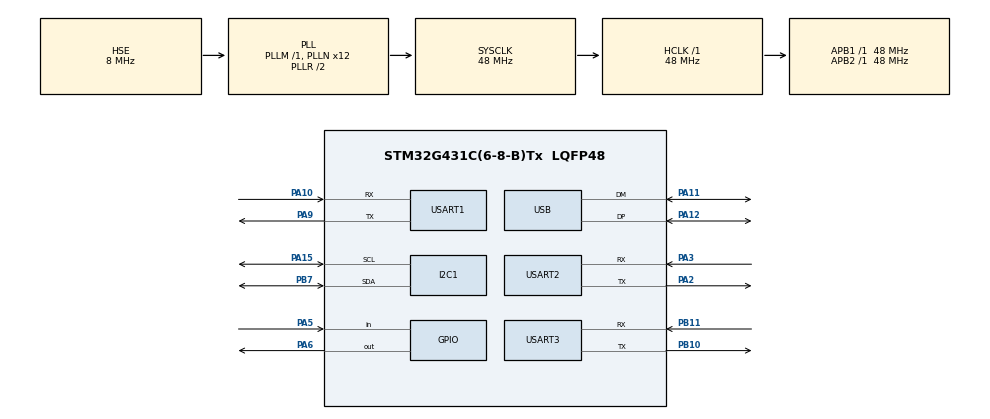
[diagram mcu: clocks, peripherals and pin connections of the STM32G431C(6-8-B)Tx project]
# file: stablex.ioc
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I2C1.Timing=0x20303E5D
Mcu.Family=STM32G4
Mcu.Name=STM32G431C(6-8-B)Tx
Mcu.Package=LQFP48
NVIC.PriorityGroup=NVIC_PRIORITYGROUP_4
NVIC.USB_LP_IRQn=true\:0\:0\:false\:false\:true\:false\:true\:true
PA10.Mode=Asynchronous
PA10.Signal=USART1_RX
PA11.Mode=Device
PA11.Signal=USB_DM
PA12.Mode=Device
PA12.Signal=USB_DP
PA13.Mode=Serial_Wire
PA13.Signal=SYS_JTMS-SWDIO
PA14.Mode=Serial_Wire
PA14.Signal=SYS_JTCK-SWCLK
PA15.Mode=I2C
PA15.Signal=I2C1_SCL
PA2.Mode=Asynchronous
PA2.Signal=USART2_TX
PA3.Mode=Asynchronous
PA3.Signal=USART2_RX
PA5.Signal=GPIO_Input
PA6.Signal=GPIO_Output
PA9.Mode=Asynchronous
PA9.Signal=USART1_TX
PB10.Mode=Asynchronous
PB10.Signal=USART3_TX
PB11.Mode=Asynchronous
PB11.Signal=USART3_RX
PB7.Mode=I2C
PB7.Signal=I2C1_SDA
PF0-OSC_IN.Mode=HSE-External-Oscillator
PF0-OSC_IN.Signal=RCC_OSC_IN
PF1-OSC_OUT.Mode=HSE-External-Oscillator
PF1-OSC_OUT.Signal=RCC_OSC_OUT
ProjectManager.HeapSize=0x200
ProjectManager.StackSize=0x400
ProjectManager.TargetToolchain=STM32CubeIDE
RCC.ADC12Freq_Value=48000000
RCC.AHBFreq_Value=48000000
RCC.APB1Freq_Value=48000000
RCC.APB1TimFreq_Value=48000000
RCC.APB2Freq_Value=48000000
RCC.APB2TimFreq_Value=48000000
RCC.CortexFreq_Value=48000000
RCC.EXTERNAL_CLOCK_VALUE=12288000
RCC.HCLKFreq_Value=48000000
RCC.HSE_VALUE=8000000
RCC.HSI48_VALUE=48000000
RCC.HSI_VALUE=16000000
RCC.LSE_VALUE=32768
RCC.PLLN=12
RCC.PLLSourceVirtual=RCC_PLLSOURCE_HSE
RCC.SYSCLKFreq_VALUE=48000000
RCC.SYSCLKSource=RCC_SYSCLKSOURCE_PLLCLK
RCC.USBFreq_Value=48000000
RCC.VCOOutputFreq_Value=96000000
USART1.VirtualMode-Asynchronous=VM_ASYNC
USART2.VirtualMode-Asynchronous=VM_ASYNC
USART3.VirtualMode-Asynchronous=VM_ASYNC
USB_DEVICE.CLASS_NAME_FS=CDC
USB_DEVICE.VirtualMode=Cdc
USB_DEVICE.VirtualModeFS=Cdc_FS
VP_SYS_VS_DBSignals.Mode=DisableDeadBatterySignals
VP_USB_DEVICE_VS_USB_DEVICE_CDC_FS.Mode=CDC_FS
board=custom

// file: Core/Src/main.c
/* USER CODE BEGIN Header */
/**
  ******************************************************************************
  * @file           : main.c
  * @brief          : Main program body
  ******************************************************************************
  * @attention
  *
  * Copyright (c) 2023 STMicroelectronics.
  * All rights reserved.
  *
  * This software is licensed under terms that can be found in the LICENSE file
  * in the root directory of this software component.
  * If no LICENSE file comes with this software, it is provided AS-IS.
  *
  ******************************************************************************
  */
/* USER CODE END Header */
#include "main.h"
#include "i2c.h"
#include "usart.h"
#include "usb_device.h"
#include "gpio.h"

/* USER CODE BEGIN Includes */
#include "string.h"
#include "usbd_cdc_if.h"
/* USER CODE END Includes */

/* USER CODE BEGIN PTD */
uint8_t raw_data[128];
__packed typedef struct
{

    int16_t roll;
    int16_t pitch;
    int16_t yaw;
    uint8_t leve;
    int16_t temp;

} gy;
/* USER CODE END PTD */

void SystemClock_Config(void);

int main(void)
{

  /* MCU Configuration--------------------------------------------------------*/

  /* Reset of all peripherals, Initializes the Flash interface and the Systick. */
  HAL_Init();

  /* Configure the system clock */
  SystemClock_Config();

  /* Initialize all configured peripherals */
  MX_GPIO_Init();
  MX_I2C1_Init();
  MX_USART1_UART_Init();
  MX_USART2_UART_Init();
  MX_USART3_UART_Init();
  MX_USB_Device_Init();
  /* USER CODE BEGIN 2 */
    HAL_GPIO_WritePin(GPIOA,GPIO_PIN_6,GPIO_PIN_RESET);
  /* USER CODE END 2 */

  /* Infinite loop */
  /* USER CODE BEGIN WHILE */
  int p[128];
  memset(p,0,sizeof(p));
    HAL_Delay(300);
  p[0]=1;
  HAL_I2C_Mem_Write(&hi2c1,0xA4,0x02,I2C_MEMADD_SIZE_8BIT,(uint8_t *)p,1,1000);
  gy my_95Q;
  uint8_t buffer[512];
    memset(buffer,0,sizeof(buffer));
    sprintf(buffer,"system init\n");
    CDC_Transmit_FS(buffer,strlen(buffer));
  while (1)
  {
    /* USER CODE END WHILE */
    if(HAL_GPIO_ReadPin(GPIOA,GPIO_PIN_5)==GPIO_PIN_RESET){
        while(HAL_GPIO_ReadPin(GPIOA,GPIO_PIN_5)==GPIO_PIN_RESET);
        if(HAL_I2C_Mem_Read(&hi2c1,0xA4,0x14,I2C_MEMADD_SIZE_8BIT,(uint8_t *)raw_data,9,HAL_MAX_DELAY)==HAL_OK){
            memcpy(&my_95Q,raw_data,9);
            memset(raw_data,0,sizeof (raw_data));
            memset(buffer,0,sizeof(buffer));
            sprintf(buffer,"roll:%.2f\npitch:%.2f \nyaw:%.2f \ntemp:%.2f \nleve:%d\r\n",(float)my_95Q.roll/100.0f,(float)my_95Q.pitch/100.0f,(float)my_95Q.yaw/100,(float)my_95Q.temp/100.0f,my_95Q.leve);
            CDC_Transmit_FS(buffer,strlen(buffer));
            memset(&my_95Q,0,sizeof(my_95Q));
        }
    }
  }
}

void SystemClock_Config(void)
{
  RCC_OscInitTypeDef RCC_OscInitStruct = {0};
  RCC_ClkInitTypeDef RCC_ClkInitStruct = {0};

  /** Configure the main internal regulator output voltage
  */
  HAL_PWREx_ControlVoltageScaling(PWR_REGULATOR_VOLTAGE_SCALE1);

  /** Initializes the RCC Oscillators according to the specified parameters
  * in the RCC_OscInitTypeDef structure.
  */
  RCC_OscInitStruct.OscillatorType = RCC_OSCILLATORTYPE_HSE;
  RCC_OscInitStruct.HSEState = RCC_HSE_ON;
  RCC_OscInitStruct.PLL.PLLState = RCC_PLL_ON;
  RCC_OscInitStruct.PLL.PLLSource = RCC_PLLSOURCE_HSE;
  RCC_OscInitStruct.PLL.PLLM = RCC_PLLM_DIV1;
  RCC_OscInitStruct.PLL.PLLN = 12;
  RCC_OscInitStruct.PLL.PLLP = RCC_PLLP_DIV2;
  RCC_OscInitStruct.PLL.PLLQ = RCC_PLLQ_DIV2;
  RCC_OscInitStruct.PLL.PLLR = RCC_PLLR_DIV2;
  if (HAL_RCC_OscConfig(&RCC_OscInitStruct) != HAL_OK)
  {
    Error_Handler();
  }

  /** Initializes the CPU, AHB and APB buses clocks
  */
  RCC_ClkInitStruct.ClockType = RCC_CLOCKTYPE_HCLK|RCC_CLOCKTYPE_SYSCLK
                              |RCC_CLOCKTYPE_PCLK1|RCC_CLOCKTYPE_PCLK2;
  RCC_ClkInitStruct.SYSCLKSource = RCC_SYSCLKSOURCE_PLLCLK;
  RCC_ClkInitStruct.AHBCLKDivider = RCC_SYSCLK_DIV1;
  RCC_ClkInitStruct.APB1CLKDivider = RCC_HCLK_DIV1;
  RCC_ClkInitStruct.APB2CLKDivider = RCC_HCLK_DIV1;

  if (HAL_RCC_ClockConfig(&RCC_ClkInitStruct, FLASH_LATENCY_1) != HAL_OK)
  {
    Error_Handler();
  }
}

void Error_Handler(void)
{
  __disable_irq();
  while (1)
  {
  }
}
